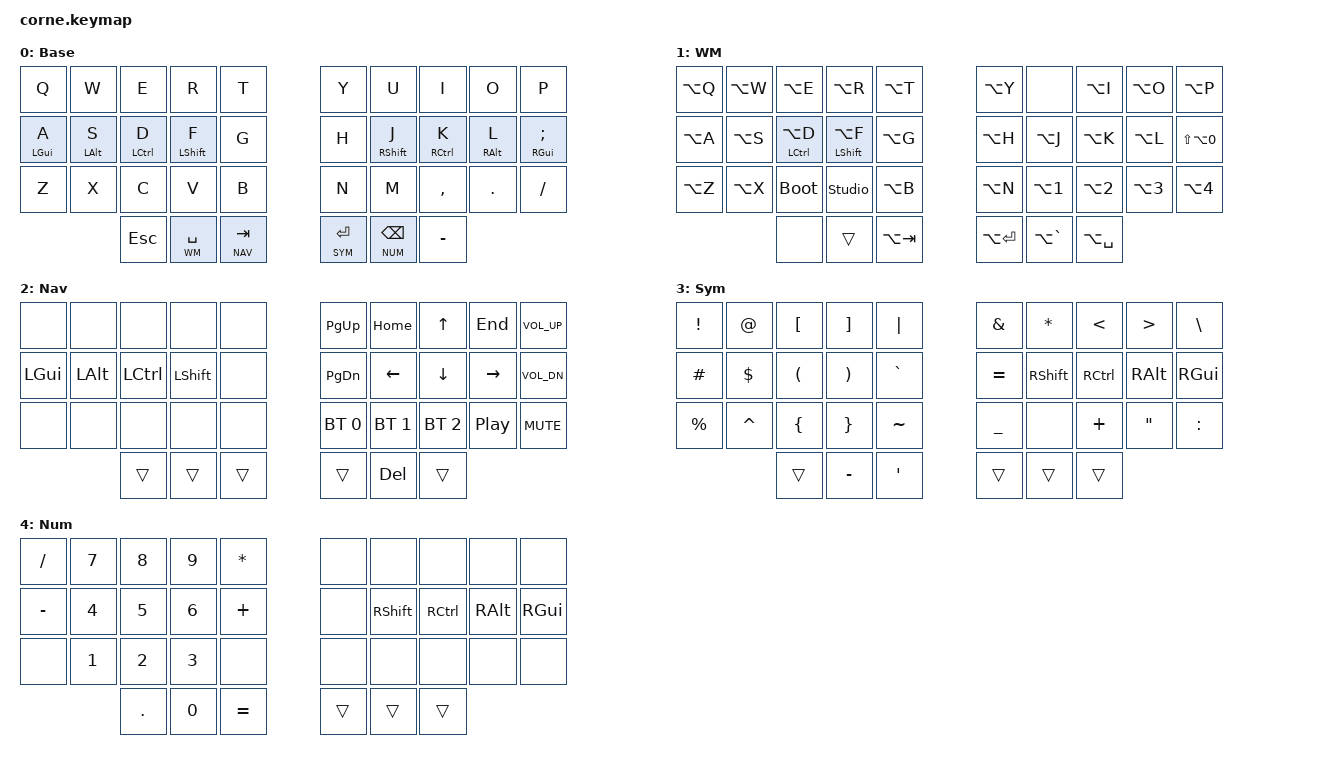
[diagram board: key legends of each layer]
/*
 * Copyright (c) 2020 The ZMK Contributors
 *
 * SPDX-License-Identifier: MIT
 */

#include <dt-bindings/zmk/keys.h>
#include <dt-bindings/zmk/bt.h>
#include <behaviors.dtsi>

#define DEFAULT 0
#define WM      1
#define NAV     2
#define SYM     3
#define NUM     4

#define LEFT_KEYS   0 1 2 3 4 10 11 12 13 14 20 21 22 23 24
#define RIGHT_KEYS  5 6 7 8 9 15 16 17 18 19 25 26 27 28 29
#define THUMB_KEYS  30 31 32 33 34 35

/ {
  chosen {
    zmk,physical-layout = &foostan_corne_5col_layout;
  };

  behaviors {
    hml: homerow_mods_left {
      compatible = "zmk,behavior-hold-tap";
      #binding-cells = <2>;
      flavor = "balanced";
      tapping-term-ms = <280>;
      quick-tap-ms = <175>;
      require-prior-idle-ms = <150>;
      hold-trigger-key-positions = <RIGHT_KEYS THUMB_KEYS>;
      hold-trigger-on-release;
      bindings = <&kp>, <&kp>;
    };

    hmr: homerow_mods_right {
      compatible = "zmk,behavior-hold-tap";
      #binding-cells = <2>;
      flavor = "balanced";
      tapping-term-ms = <280>;
      quick-tap-ms = <175>;
      require-prior-idle-ms = <150>;
      hold-trigger-key-positions = <LEFT_KEYS THUMB_KEYS>;
      hold-trigger-on-release;
      bindings = <&kp>, <&kp>;
    };

    wmod: wm_modifier {
      compatible = "zmk,behavior-hold-tap";
      #binding-cells = <2>;
      flavor = "hold-preferred";
      tapping-term-ms = <200>;
      bindings = <&kp>, <&kp>;
    };

    thumb: thumb_layer_tap {
      compatible = "zmk,behavior-hold-tap";
      #binding-cells = <2>;
      flavor = "balanced";
      tapping-term-ms = <200>;
      quick-tap-ms = <175>;
      bindings = <&mo>, <&kp>;
    };

    space_wm: space_window_manager {
      compatible = "zmk,behavior-hold-tap";
      #binding-cells = <2>;
      flavor = "balanced";
      tapping-term-ms = <200>;
      quick-tap-ms = <175>;
      require-prior-idle-ms = <150>;
      bindings = <&mo>, <&kp>;
    };
  };

  keymap {
    compatible = "zmk,keymap";

    default_layer {
      display-name = "Base";
      bindings = <
        &kp Q          &kp W          &kp E           &kp R           &kp T            &kp Y           &kp U           &kp I           &kp O          &kp P
        &hml LGUI A    &hml LALT S    &hml LCTRL D    &hml LSHIFT F   &kp G            &kp H           &hmr RSHIFT J   &hmr RCTRL K    &hmr RALT L    &hmr RGUI SEMI
        &kp Z          &kp X          &kp C           &kp V           &kp B            &kp N           &kp M           &kp COMMA       &kp DOT        &kp FSLH
                                      &kp ESC         &space_wm WM SPACE &thumb NAV TAB &thumb SYM RET &thumb NUM BSPC &kp MINUS
      >;
    };

    wm_layer {
      display-name = "WM";
      bindings = <
        &kp LA(Q)      &kp LA(W)      &kp LA(E)       &kp LA(R)       &kp LA(T)        &kp LA(Y)       &none           &kp LA(I)       &kp LA(O)      &kp LA(P)
        &kp LA(A)      &kp LA(S)      &wmod LCTRL LA(D) &wmod LSHIFT LA(F) &kp LA(G)   &kp LA(H)       &kp LA(J)       &kp LA(K)       &kp LA(L)      &kp LS(LA(N0))
        &kp LA(Z)      &kp LA(X)      &bootloader     &studio_unlock  &kp LA(B)        &kp LA(N)       &kp LA(N1)      &kp LA(N2)      &kp LA(N3)     &kp LA(N4)
                                      &none           &trans          &kp LA(TAB)      &kp LA(RET)     &kp LA(GRAVE)   &kp LA(SPACE)
      >;
    };

    nav_layer {
      display-name = "Nav";
      bindings = <
        &none          &none          &none           &none           &none            &kp PG_UP       &kp HOME        &kp UP          &kp END        &kp C_VOL_UP
        &kp LGUI       &kp LALT       &kp LCTRL       &kp LSHIFT      &none            &kp PG_DN       &kp LEFT        &kp DOWN        &kp RIGHT      &kp C_VOL_DN
        &none          &none          &none           &none           &none            &bt BT_SEL 0    &bt BT_SEL 1    &bt BT_SEL 2    &kp C_PP       &kp C_MUTE
                                      &trans          &trans          &trans           &trans          &kp DEL         &trans
      >;
    };

    sym_layer {
      display-name = "Sym";
      bindings = <
        &kp EXCL       &kp AT         &kp LBKT        &kp RBKT        &kp PIPE         &kp AMPS        &kp STAR        &kp LT          &kp GT         &kp BSLH
        &kp HASH       &kp DLLR       &kp LPAR        &kp RPAR        &kp GRAVE        &kp EQUAL       &kp RSHIFT      &kp RCTRL       &kp RALT       &kp RGUI
        &kp PRCNT      &kp CARET      &kp LBRC        &kp RBRC        &kp TILDE        &kp UNDER       &none           &kp PLUS        &kp DQT        &kp COLON
                                      &trans          &kp MINUS       &kp SQT          &trans          &trans          &trans
      >;
    };

    num_layer {
      display-name = "Num";
      bindings = <
        &kp FSLH       &kp N7         &kp N8          &kp N9          &kp STAR         &none           &none           &none           &none          &none
        &kp MINUS      &kp N4         &kp N5          &kp N6          &kp PLUS         &none           &kp RSHIFT      &kp RCTRL       &kp RALT       &kp RGUI
        &none          &kp N1         &kp N2          &kp N3          &none            &none           &none           &none           &none          &none
                                      &kp DOT         &kp N0          &kp EQUAL        &trans          &trans          &trans
      >;
    };
  };
};
